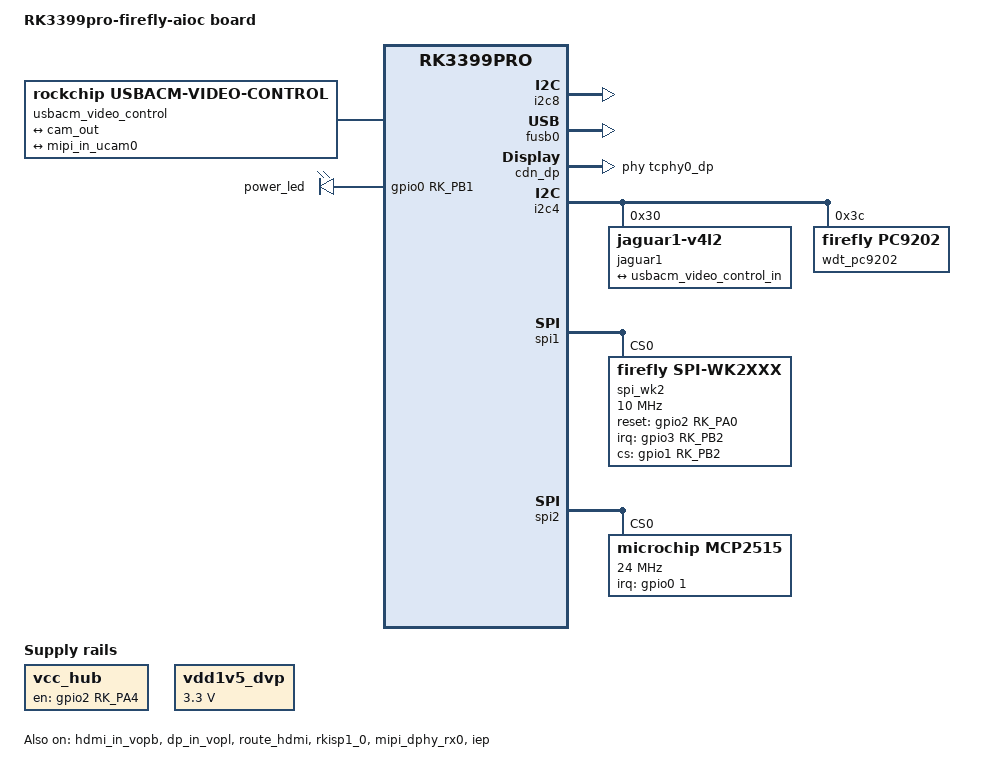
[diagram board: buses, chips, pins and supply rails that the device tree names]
/*
 * Copyright (c) 2016 Fuzhou Rockchip Electronics Co., Ltd
 *
 * This file is dual-licensed: you can use it either under the terms
 * of the GPL or the X11 license, at your option. Note that this dual
 * licensing only applies to this file, and not this project as a
 * whole.
 *
 *  a) This file is free software; you can redistribute it and/or
 *     modify it under the terms of the GNU General Public License as
 *     published by the Free Software Foundation; either version 2 of the
 *     License, or (at your option) any later version.
 *                                                                                                                                             
 *     This file is distributed in the hope that it will be useful,
 *     but WITHOUT ANY WARRANTY; without even the implied warranty of
 *     MERCHANTABILITY or FITNESS FOR A PARTICULAR PURPOSE.  See the
 *     GNU General Public License for more details.
 *
 * Or, alternatively,
 *
 *  b) Permission is hereby granted, free of charge, to any person
 *     obtaining a copy of this software and associated documentation
 *     files (the "Software"), to deal in the Software without
 *     restriction, including without limitation the rights to use,
 *     copy, modify, merge, publish, distribute, sublicense, and/or
 *     sell copies of the Software, and to permit persons to whom the
 *     Software is furnished to do so, subject to the following
 *     conditions:
 *
 *     The above copyright notice and this permission notice shall be
 *     included in all copies or substantial portions of the Software.
 *
 *     THE SOFTWARE IS PROVIDED "AS IS", WITHOUT WARRANTY OF ANY KIND,
 *     EXPRESS OR IMPLIED, INCLUDING BUT NOT LIMITED TO THE WARRANTIES
 *     OF MERCHANTABILITY, FITNESS FOR A PARTICULAR PURPOSE AND
 *     NONINFRINGEMENT. IN NO EVENT SHALL THE AUTHORS OR COPYRIGHT
 *     HOLDERS BE LIABLE FOR ANY CLAIM, DAMAGES OR OTHER LIABILITY,
 *     WHETHER IN AN ACTION OF CONTRACT, TORT OR OTHERWISE, ARISING
 *     FROM, OUT OF OR IN CONNECTION WITH THE SOFTWARE OR THE USE OR
 *     OTHER DEALINGS IN THE SOFTWARE.
 */

/dts-v1/;
#include "rk3399pro-firefly-port.dtsi"
#include "rk3399pro-firefly-pcie.dtsi"

/ {
	model = "RK3399pro-firefly-aioc board";
	compatible = "rockchip,rk3399pro-firefly-aioc", "rockchip,rk3399pro";
	
	
	usbacm_video_control: usbacm-video-control {
		compatible = "rockchip,usbacm-video-control";
		status = "disabled";
	};

	/delete-node/ vcc5v0-typec;
	mcp251x_clk: mcp251x-clk {
        	compatible = "fixed-clock";
        	#clock-cells = <0>;
        	clock-frequency = <8000000>;        //MCP2515_CAN模块的晶振为8MHz
        };

        vcc_hub: vcc-hub-regulator {
                compatible = "regulator-fixed";
                enable-active-high;
                regulator-always-on;
                regulator-boot-on;
                gpio = <&gpio2 RK_PA4 GPIO_ACTIVE_HIGH>;
                pinctrl-names = "default";
                pinctrl-0 = <&hub_drv>;
                regulator-name = "vcc_hub";
        };

};

&hdmi_in_vopl {
	status = "disabled";
};

&hdmi_in_vopb {
	status = "okay";
};

&dp_in_vopb {
	status = "disabled";
};

&dp_in_vopl {
	status = "okay";
};

&route_hdmi {
        status = "okay";
        logo,mode = "center";
};

&vopb {
    assigned-clocks = <&cru DCLK_VOP0_DIV>;
    assigned-clock-parents = <&cru PLL_VPLL>;
};
&vopl {
    assigned-clocks = <&cru DCLK_VOP1_DIV>;
    assigned-clock-parents = <&cru PLL_CPLL>;
};

// DP
&i2c8 {
	status = "okay";
};

&fusb0 {
	status = "okay";
};

&vcc5v0_host {
       gpio = <&gpio2 RK_PA2 GPIO_ACTIVE_HIGH>;
};

&cdn_dp {
        status = "okay";
        extcon = <&fusb0>;
        phys = <&tcphy0_dp>;
};

// mipi csi

&ov13850 {
	status = "disabled";
};

&ov13850_1 {
	status = "disabled";
};


&vcc_mipi {
	status = "disabled";
};

&dvdd_1v2 {
	status = "disabled";
};

&rkisp1_0 {
	status = "disabled";
};

&mipi_dphy_rx0 {
	status = "disabled";
};

&isp0_mmu {
	status = "disabled";
};

&rkisp1_1 {
	status = "disabled";
};

&mipi_dphy_tx1rx1 {
	status = "disabled";
};

&isp1_mmu {
	status = "disabled";
};



&mipi_dphy_rx0 {
	status = "okay";

	ports {
		#address-cells = <1>;
		#size-cells = <0>;

		port@0 {
			reg = <0>;
			#address-cells = <1>;
			#size-cells = <0>;

			mipi_in_ucam0: endpoint@1 {
				reg = <1>;
				remote-endpoint = <&usbacm_video_control_out>;
				data-lanes = <1 2 3 4>;
			};
		};

		port@1 {
			reg = <1>;
			#address-cells = <1>;
			#size-cells = <0>;

			dphy_rx0_out: endpoint@0 {
				reg = <0>;
				remote-endpoint = <&isp0_mipi_in>;
			};
		};
	};
};

&usbacm_video_control {
	status = "okay";
	rockchip,camera-module-index = <0>;
	rockchip,camera-module-facing = "back";
	rockchip,camera-module-name = "usbacm_video_control";
	rockchip,camera-module-lens-name = "usbacm_video_control";

	ports {
		#address-cells = <1>;
		#size-cells = <0>;

		port@0 {
			reg = <0>;
			#address-cells = <1>;
			#size-cells = <0>;

			usbacm_video_control_in: endpoint@1 {
				reg = <0>;
				remote-endpoint = <&cam_out>;
				data-lanes = <1 2 3 4>;
			};
		};

		port@1 {
			reg = <1>;
			#address-cells = <1>;
			#size-cells = <0>;

			usbacm_video_control_out: endpoint@0 {
				reg = <1>;
				remote-endpoint = <&mipi_in_ucam0>;
				data-lanes = <1 2 3 4>;
			};
		};
	};
};

&rkisp1_0 {
	status = "okay";

	port {
		#address-cells = <1>;
		#size-cells = <0>;

		isp0_mipi_in: endpoint@0 {
			reg = <0>;
			remote-endpoint = <&dphy_rx0_out>;
		};
	};
};

&isp0_mmu {
	status = "okay";
};

&iep {
	status = "okay";
};

&iep_mmu {
	status = "okay";
};

&i2c4 {
	status = "okay";
	i2c-scl-rising-time-ns = <345>;
	i2c-scl-falling-time-ns = <11>;

	jaguar1: jaguar1@30 {
		compatible = "jaguar1-v4l2";
		status = "okay";
		reg = <0x30>;
		clocks = <&cru SCLK_CIF_OUT>;
		clock-names = "xvclk";
		/*
		 * pd-gpios = <&gpio4 21 GPIO_ACTIVE_HIGH>; // conflict with csi-ctl-gpios
		 * rst-gpios = <&gpio0 12 GPIO_ACTIVE_HIGH>;
		 */
		rockchip,camera-module-index = <0>;
		rockchip,camera-module-facing = "back";
		rockchip,camera-module-name = "jaguar1";
		rockchip,camera-module-lens-name = "jaguar1";
		port {
			cam_out: endpoint {
				remote-endpoint = <&usbacm_video_control_in>;
				data-lanes = <1 2 3 4>;
			};
		};
	};
};


// LED
&power_led {
	gpios = <&gpio0 RK_PB1 GPIO_ACTIVE_HIGH>;
};

&led_power {
        rockchip,pins = <0 RK_PB1 RK_FUNC_GPIO &pcfg_pull_none>;
};


&pcie0 {
	/delete-property/ gpio;
};

&vcc3v3_3g {
	gpio = <&gpio3 RK_PD6 GPIO_ACTIVE_HIGH>;
};

&pcie_3g_drv {
	rockchip,pins =<3 RK_PD6 RK_FUNC_GPIO &pcfg_pull_up>;
};



/* spi to uart */
&uart4 {
    status = "disabled";
};

&spi1 {
        status = "okay";
	max-freq = <48000000>;
	dev-port = <0>;
	spi_wk2@00{
        	status = "okay";
        	compatible = "firefly,spi-wk2xxx";
        	reg = <0x00>;
        	spi-max-frequency = <10000000>;
        	reset-gpio = <&gpio2 RK_PA0 GPIO_ACTIVE_HIGH>;
        	irq-gpio = <&gpio3 RK_PB2 IRQ_TYPE_EDGE_FALLING>;
        	cs-gpio = <&gpio1 RK_PB2 GPIO_ACTIVE_HIGH>;
	};
};

&spi2 {
        status = "okay";
	spi_wk2xxx@00{
		status = "disabled";
	};
	mcp2515: can@00 {
		status = "okay";
		compatible = "microchip,mcp2515";
		reg = <0x00>;
		clocks = <&mcp251x_clk>;
		interrupt-parent = <&gpio0>;
		interrupts = <1 IRQ_TYPE_EDGE_FALLING>;
		spi-max-frequency = <24000000>;
		pinctrl-names = "default";
		pinctrl-0 = <&can0_pins>;
		poll_mode = <0>;
		enable_dma = <1>;
	};
};

&rk809_codec {
	hp-det = <&gpio0 RK_PB5 GPIO_ACTIVE_HIGH>;
	spk-ctl = <&gpio2 RK_PA5 GPIO_ACTIVE_HIGH>;
	hp-ctl-gpios = <&gpio3 RK_PD7 GPIO_ACTIVE_HIGH>;
	io-channels = <0>;
};

&spk_ctl_gpio {
	rockchip,pins = <2 RK_PA5 RK_FUNC_GPIO &pcfg_pull_up_20ma>;
};


&vdd1v5_dvp {
	regulator-min-microvolt = <3300000>;
	regulator-max-microvolt = <3300000>;
};

&i2c4 {
	status = "okay";

    wdt_pc9202: wdt-pc9202@3c {
        status = "okay";
        compatible = "firefly,pc9202";
        reg = <0x3c>;
    };
};

&pinctrl {
        hub {
                hub_drv: hub-drv {
			rockchip,pins =
				<2 RK_PA4 RK_FUNC_GPIO &pcfg_pull_up>;
                };
        };

        can0 {
                can0_pins: can0-pins {
			rockchip,pins =
				<0 RK_PA1 RK_FUNC_GPIO &pcfg_pull_none>;
                };
        };
        usb2 {
                host_vbus_drv: host-vbus-drv {
                        rockchip,pins =
                                <2 RK_PA2 RK_FUNC_GPIO &pcfg_pull_none>;
                };
        };
};
